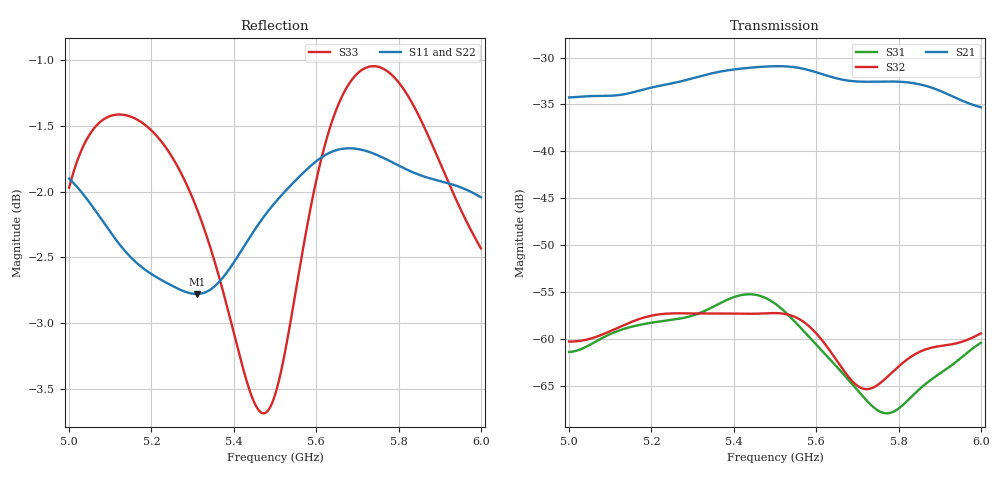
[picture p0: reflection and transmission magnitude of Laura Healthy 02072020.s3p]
! TOUCHSTONE file generated by CST MICROWAVE STUDIO
! Date and time: Thu Jul  2 08:03:31 2020
! Project name: Female Human Lung Lower Right.cst
! Header version: 2018
! Port assignment regex: !\s*Touchstone port\s*([0-9]+)\s*=\s*(CST MWS port|CST DS port)\s*([0-9]+|Zmin|Zmax)\s*\(\"(.*)\"\)(\s*mode\s*([0-9]+))?.*
! Touchstone port assignment:
! Touchstone port 1 = CST MWS port 1 ("")
! Touchstone port 2 = CST MWS port 2 ("")
! Touchstone port 3 = CST MWS port 3 ("")
# GHz S RI R 50
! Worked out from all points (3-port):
!   1001 points, 5 GHz to 6 GHz, reference 50 ohm
!   strongest paths, dB at 5 GHz, 5.25 GHz, 5.5 GHz, 5.75 GHz, 6 GHz:
!     S21: -34.2, -32.7, -30.9, -32.6, -35.3
!     S32: -60.3, -57.3, -57.3, -64.9, -59.4
!     S31: -61.4, -58.0, -56.2, -67.6, -60.4
!   lowest |S11| = -2.8 dB at 5.31 GHz (marker M1), VSWR 6.30, Z = 314 + j20.7 ohm
!   |S11| at or under -10 dB: nowhere
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5  0.8018 -0.0532  0.000668 -0.0194  0.000747 0.000403
   0.000628 -0.0194  0.7902 -0.0533  0.00096 0.000118
   0.000756 0.000391  0.00096 0.000117  0.7927 0.0848
5.133  0.7536 -0.0447  -0.0176 -0.00981  0.000243 -0.0011
       -0.0176 -0.00979  0.7471 -0.0378  -0.000156 -0.00117
       0.000241 -0.0011  -0.000156 -0.00117  0.8497 -5.15e-05
5.31  0.726 0.0156  -0.0119 0.0218  -0.000857 0.00105
      -0.0119 0.0218  0.7454 0.0344  -0.00025 0.00134
      -0.000854 0.00105  -0.00025 0.00134  0.7792 -0.0739
5.425  0.7547 0.0619  0.0171 0.0218  0.00164 0.00053
       0.0171 0.0218  0.7755 0.0392  0.00136 -4.98e-05
       0.00164 0.00053  0.00136 -4.99e-05  0.6772 -0.0343
5.5  0.7839 0.0664  0.0283 0.00338  0.00065 -0.0014
     0.0283 0.00338  0.7767 0.04  0.000443 -0.0013
     0.000649 -0.0014  0.000443 -0.0013  0.6606 0.0745
5.582  0.8092 0.0587  0.0195 -0.0188  -0.000836 -0.000596
       0.0195 -0.0189  0.7887 0.0532  -0.00106 -0.000502
       -0.000838 -0.000596  -0.00106 -0.000502  0.7621 0.1498
5.704  0.824 0.0271  -0.00793 -0.0222  -0.000303 0.00042
       -0.00793 -0.0222  0.8175 0.0375  -0.000265 0.000487
       -0.000304 0.000421  -0.000266 0.000486  0.8788 0.0771
5.765  0.8179 0.015  -0.0188 -0.0143  -7.73e-05 0.000396
       -0.0188 -0.0143  0.8175 0.0247  -4.89e-05 0.000602
       -7.54e-05 0.000395  -4.86e-05 0.000602  0.8841 0.0226
5.851  0.806 0.00987  -0.0221 0.00567  0.000249 0.000474
       -0.0221 0.00566  0.8108 0.016  0.000733 0.000432
       0.000251 0.000477  0.000733 0.000433  0.8473 -0.0333
6  0.7904 0.00946  0.00232 0.017  0.000576 -0.000741
   0.00234 0.017  0.7963 0.00746  -1.16e-05 -0.00107
   0.000581 -0.000754  -1.06e-05 -0.00107  0.7555 -0.0241
